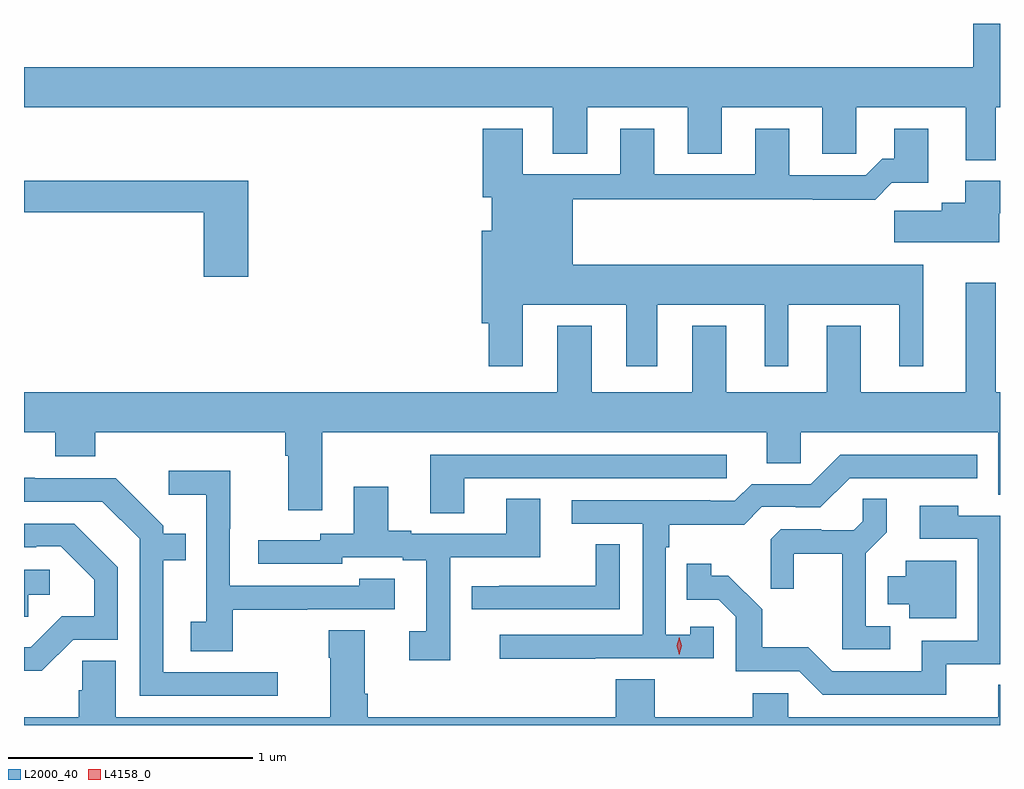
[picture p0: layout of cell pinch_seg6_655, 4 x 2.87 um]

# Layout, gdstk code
import gdstk
lib = gdstk.Library(unit=1e-6, precision=1e-09)
def P(c, l, *ps):  # polygons
    for p in ps: c.add(gdstk.Polygon(p, *l))
L2000_40 = (2000, 40)
L4158_0 = (4158, 0)

pinch_seg6_655 = lib.new_cell('pinch_seg6_655')
P(pinch_seg6_655, L2000_40, [(442.095,918.032),(444.263,918.032),(444.263,917.842),(444.403,917.842),(444.403,918.032),(444.815,918.032),(444.815,917.842),(444.955,917.842),(444.955,918.032),(445.367,918.032),(445.367,917.842),(445.506,917.842),(445.506,918.032),(445.955,918.032),(445.955,917.816),(446.077,917.816),(446.077,918.032),(446.095,918.032),(446.095,918.374),(445.986,918.374),(445.986,918.196),(442.095,918.196)],
  [(444.139,917.222),(444.563,917.222),(444.563,916.971),(444.691,916.971),(444.691,917.222),(445.13,917.222),(445.13,916.971),(445.228,916.971),(445.228,917.222),(445.682,917.222),(445.682,916.971),(445.78,916.971),(445.78,917.386),(444.343,917.386),(444.343,917.656),(445.327,917.656),(445.327,917.654),(445.583,917.654),(445.652,917.723),(445.801,917.723),(445.801,917.944),(445.661,917.944),(445.661,917.821),(445.612,917.821),(445.545,917.754),(445.231,917.754),(445.231,917.944),(445.091,917.944),(445.091,917.757),(444.679,917.757),(444.679,917.944),(444.539,917.944),(444.539,917.757),(444.139,917.757),(444.139,917.944),(443.975,917.944),(443.975,917.664),(444.011,917.664),(444.011,917.527),(443.972,917.527),(443.972,917.147),(443.999,917.147),(443.999,916.971),(444.139,916.971)],
  [(446.092,917.597),(446.095,917.597),(446.095,917.731),(445.952,917.731),(445.952,917.641),(445.856,917.641),(445.856,917.609),(445.662,917.609),(445.662,917.48),(446.092,917.48)],
  [(443.015,917.731),(442.095,917.731),(442.095,917.602),(442.832,917.602),(442.832,917.337),(443.015,917.337)],
  [(443.317,916.7),(445.139,916.7),(445.139,916.573),(445.278,916.573),(445.278,916.7),(446.087,916.7),(446.087,916.444),(446.095,916.444),(446.095,916.864),(446.077,916.864),(446.077,917.314),(445.955,917.314),(445.955,916.864),(445.525,916.864),(445.525,917.137),(445.385,917.137),(445.385,916.864),(444.973,916.864),(444.973,917.137),(444.833,917.137),(444.833,916.864),(444.421,916.864),(444.421,917.137),(444.281,917.137),(444.281,916.864),(442.095,916.864),(442.095,916.7),(442.223,916.7),(442.223,916.601),(442.388,916.601),(442.388,916.7),(443.165,916.7),(443.165,916.604),(443.177,916.604),(443.177,916.38),(443.317,916.38)],
  [(443.899,916.512),(444.976,916.512),(444.976,916.608),(443.759,916.608),(443.759,916.369),(443.899,916.369)],
  [(444.437,915.774),(444.921,915.774),(444.921,915.903),(444.825,915.903),(444.825,915.871),(444.726,915.871),(444.726,916.229),(444.739,916.229),(444.739,916.322),(445.046,916.322),(445.119,916.395),(445.258,916.395),(445.258,916.392),(445.359,916.392),(445.479,916.512),(446.002,916.512),(446.002,916.608),(445.44,916.608),(445.32,916.488),(445.077,916.488),(445.008,916.419),(444.908,916.419),(444.908,916.422),(444.339,916.422),(444.339,916.326),(444.63,916.326),(444.63,915.87),(444.045,915.87),(444.045,915.772),(444.437,915.772)],
  [(442.951,915.973),(443.255,915.973),(443.255,915.975),(443.614,915.975),(443.614,916.099),(443.469,916.099),(443.469,916.071),(442.938,916.071),(442.938,916.304),(442.941,916.304),(442.941,916.543),(442.689,916.543),(442.689,916.445),(442.842,916.445),(442.842,915.924),(442.779,915.924),(442.779,915.802),(442.951,915.802)],
  [(443.134,915.717),(442.666,915.717),(442.666,916.176),(442.757,916.176),(442.757,916.285),(442.665,916.285),(442.665,916.317),(442.47,916.512),(442.139,916.512),(442.139,916.514),(442.095,916.514),(442.095,916.416),(442.416,916.416),(442.569,916.263),(442.569,915.621),(443.134,915.621)],
  [(443.841,916.188),(444.211,916.188),(444.211,916.427),(444.071,916.427),(444.071,916.284),(443.683,916.284),(443.683,916.297),(443.587,916.297),(443.587,916.477),(443.447,916.477),(443.447,916.284),(443.31,916.284),(443.31,916.257),(443.055,916.257),(443.055,916.161),(443.4,916.161),(443.4,916.188),(443.648,916.188),(443.648,916.176),(443.744,916.176),(443.744,915.885),(443.673,915.885),(443.673,915.765),(443.841,915.765)],
  [(445.645,915.906),(445.545,915.906),(445.545,916.205),(445.631,916.291),(445.631,916.427),(445.533,916.427),(445.533,916.336),(445.496,916.299),(445.362,916.299),(445.362,916.302),(445.197,916.302),(445.156,916.261),(445.156,916.059),(445.25,916.059),(445.25,916.202),(445.448,916.202),(445.448,915.81),(445.645,915.81)],
  [(445.874,915.75),(446.095,915.75),(446.095,916.359),(445.923,916.359),(445.923,916.399),(445.767,916.399),(445.767,916.263),(446.004,916.263),(446.004,915.846),(445.775,915.846),(445.775,915.72),(445.407,915.72),(445.309,915.819),(445.12,915.819),(445.12,915.974),(444.982,916.112),(444.912,916.112),(444.912,916.162),(444.811,916.162),(444.811,916.014),(444.942,916.014),(445.011,915.945),(445.011,915.72),(445.272,915.72),(445.368,915.624),(445.874,915.624)],
  [(442.296,915.849),(442.479,915.849),(442.479,916.147),(442.3,916.326),(442.095,916.326),(442.095,916.23),(442.145,916.23),(442.145,916.233),(442.245,916.233),(442.382,916.096),(442.382,915.946),(442.249,915.946),(442.122,915.819),(442.095,915.819),(442.095,915.722),(442.168,915.722)],
  [(444.537,916.241),(444.439,916.241),(444.439,916.071),(444.043,916.071),(444.043,916.07),(443.931,916.07),(443.931,915.975),(444.537,915.975)],
  [(445.915,916.174),(445.709,916.174),(445.709,916.111),(445.634,916.111),(445.634,915.995),(445.724,915.995),(445.724,915.938),(445.915,915.938)],
  [(442.113,916.034),(442.201,916.034),(442.201,916.137),(442.095,916.137),(442.095,915.945),(442.113,915.945)],
  [(446.095,915.665),(446.087,915.665),(446.087,915.532),(445.227,915.532),(445.227,915.63),(445.081,915.63),(445.081,915.532),(444.681,915.532),(444.681,915.689),(444.521,915.689),(444.521,915.532),(443.504,915.532),(443.504,915.628),(443.491,915.628),(443.491,915.889),(443.344,915.889),(443.344,915.776),(443.351,915.776),(443.351,915.532),(442.471,915.532),(442.471,915.764),(442.333,915.764),(442.333,915.642),(442.319,915.642),(442.319,915.532),(442.095,915.532),(442.095,915.5),(446.095,915.5)])
P(pinch_seg6_655, L4158_0, [(444.78,915.789),(444.78,915.789),(444.77,915.825),(444.78,915.861),(444.78,915.861),(444.78,915.861),(444.79,915.825),(444.78,915.789)])

lib.write_gds('pinch_seg6_655.gds')
